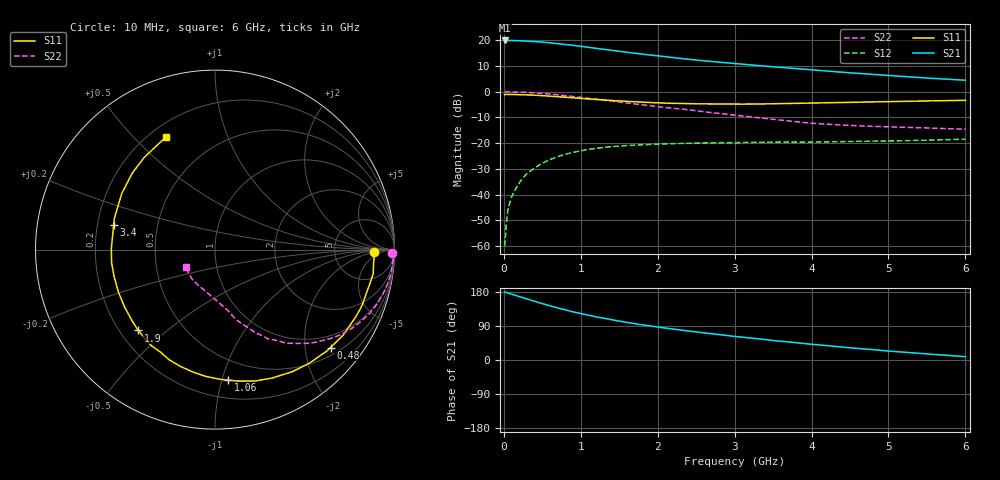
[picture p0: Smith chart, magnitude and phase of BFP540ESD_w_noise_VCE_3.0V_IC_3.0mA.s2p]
! Infineon Technologies  Discrete & RF Semiconductors
! BFP540ESD
! VCE =  3.0 V,  IC =  3.0 mA
! Common Emitter S-Parameters:  Nov 2015
# GHz  S  MA  R  50
!  f  S11  S21  S12  S22
! GHz  MAG  ANG  MAG  ANG  MAG  ANG  MAG  ANG
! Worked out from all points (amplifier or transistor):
!   210 points, 10 MHz to 6 GHz, reference 50 ohm
!   highest |S21| = 19.9 dB at 10 MHz (marker M1)
!   |S21| within 3 dB of that: start of sweep to 1.183 GHz
!   unconditionally stable (mu >= 1): 3.763 GHz to end of sweep
!   at 185 MHz: K = 0.03, MSG = 28.0 dB, |S12| = -36.1 dB
!   at 1.52 GHz: K = 0.34, MSG = 18.4 dB, |S12| = -21.1 dB
!   at 6 GHz: K = 1.31, MAG = 8.1 dB, |S12| = -18.4 dB
!   lowest NFmin = 0.63 dB at 900 MHz
!   S11 on the Smith chart (normalised r, x): 10 MHz: 16, -2; 480 MHz: 0.68, -2.57; 1.06 GHz: 0.34, -1.05; 1.9 GHz: 0.27, -0.40; 3.4 GHz: 0.27, +0.11; 6 GHz: 0.27, +0.62
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0.01  0.8838 -0.7  9.928 179.1  0.001 89.9  0.9859 -1.2
0.02  0.8896 -2.0  9.916 179.0  0.0014 93.9  0.9973 -1.0
0.05  0.8864 -4.1  9.875 176.9  0.0047 88.1  0.9953 -2.3
0.105  0.8904 -9.0  9.905 173.5  0.0094 84.5  0.9921 -4.8
0.3  0.8692 -25.4  9.664 161.1  0.0256 78.5  0.9725 -13.6
0.48  0.8438 -40.3  9.301 150.0  0.0394 70.6  0.9361 -21.6
0.6  0.8229 -50.2  8.945 142.7  0.0482 65.4  0.9043 -26.5
0.8  0.7834 -65.9  8.326 132.1  0.0613 58.1  0.8426 -34.4
0.9  0.7657 -73.0  7.977 127.0  0.0666 54.3  0.8098 -37.8
1.02  0.7391 -81.4  7.556 121.7  0.0722 50.3  0.771 -41.7
1.06  0.7309 -84.3  7.431 119.8  0.0741 49.0  0.7581 -43.0
1.2  0.7084 -94.1  6.973 113.8  0.0794 44.9  0.715 -47.0
1.5  0.6648 -112.7  6.113 102.6  0.0876 37.2  0.6288 -54.5
1.7  0.6418 -123.8  5.631 95.9  0.0919 33.1  0.5783 -59.3
1.9  0.621 -133.5  5.186 90.0  0.095 29.7  0.534 -62.3
2.02  0.6073 -139.9  4.955 86.3  0.0965 27.8  0.5115 -64.3
2.42  0.5864 -157.5  4.243 75.9  0.0997 22.8  0.4431 -69.7
3.1  0.5756 176.2  3.428 60.3  0.1034 17.2  0.338 -79.3
3.4  0.5812 166.2  3.143 53.8  0.1049 15.0  0.3023 -84.7
4.1  0.6085 146.6  2.594 39.8  0.1059 11.7  0.2393 -102.0
5.1  0.6493 126.1  2.027 22.2  0.111 9.9  0.2067 -128.5
6  0.6827 113.6  1.676 8.8  0.1198 9.5  0.1872 -149.7
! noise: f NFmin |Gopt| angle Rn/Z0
0.9  0.63  0.27  45  0.15
1.8  0.89  0.21  92  0.13
2.4  0.92  0.26  109  0.1
3  1.12  0.29  144  0.09
4  1.37  0.29  -141  0.15
5  1.69  0.42  -108  0.35
6  1.9  0.55  -106  0.52
